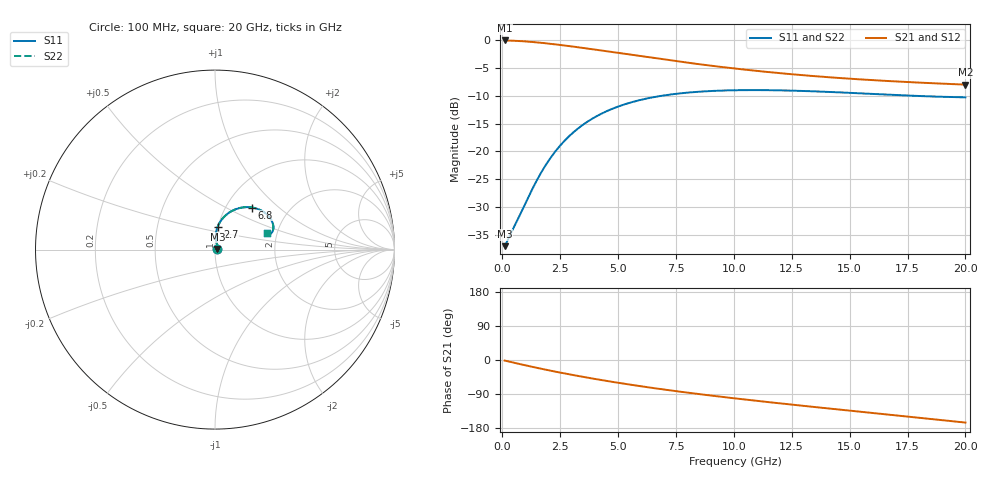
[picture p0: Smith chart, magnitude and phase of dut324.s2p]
! Touchstone file exported from HFSS 2024.1.0
!  File:  C:/UserFiles/LocalFiles/RDL_TSV_Batchsim/temp_RDL_TSV_324_1779630491.aedt
!  Generated:  10:05:19 PM May 24, 2026
!  Design:  RDL_TSV
!  Project:  temp_RDL_TSV_324_1779630491
!  Setup:  Setup1
!  Solution:  Sweep
! Variables:
!  dtsv = 6.33um
!  hbump = 3um
!  htsv = 72.81um
!  ldown = 206.31um
!  lrdl = 417.19um
!  p = 40
!  p1 = 58.47um
!  rhole = 10um
!  subl = 2287.69um
!  t = 450um
!  tdown = 4.67um
!  trdl = 2.38um
!  viad = 10um
!  wdown = 14.82um
!  wrdl = 28um
!  xbump = 18um
# GHz S MA R 50.000000
! Terminal data exported
! Port[1] = TM1_1_T1
! Port[2] = TM1_4_T1
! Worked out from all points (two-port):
!   200 points, 100 MHz to 20 GHz, reference 50 ohm
!   highest |S21| = -0.12 dB at 100 MHz (marker M1); lowest = -8.0 dB at 20 GHz (marker M2)
!   |S21| within 3 dB of the highest: start of sweep to 6.296 GHz
!   lowest |S11| = -37.0 dB at 100 MHz (marker M3), VSWR 1.03, Z = 51.4 + j0.36 ohm
!   |S11| at or under -10 dB: start of sweep to 6.93 GHz; 17.6 GHz to end of sweep
!   |S22| runs from -37.0 to -9.0 dB; largest |S21 - S12| = 7.6e-15
!   S11 on the Smith chart (normalised r, x): 100 MHz: 1.03, +0.01; 2.7 GHz: 1.00, +0.25; 6.8 GHz: 1.32, +0.69; 20 GHz: 1.77, +0.37
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0.1  0.01419 14.3  0.986 -1.5  0.986 -1.5  0.01419 14.3
! Gamma 0 0 0 0
! Port Impedance 50 0 50 0
0.8  0.02808 65.3  0.9726 -11.3  0.9726 -11.3  0.02808 65.3
1.3  0.04623 81.2  0.9556 -18.1  0.9556 -18.1  0.04623 81.2
1.6  0.06064 85.2  0.943 -22.0  0.943 -22.0  0.06064 85.2
2.1  0.08861 86.5  0.9193 -28.4  0.9193 -28.4  0.08861 86.5
2.4  0.1068 85.4  0.9039 -32.0  0.9039 -32.0  0.1068 85.5
2.7  0.1254 83.6  0.8881 -35.6  0.8881 -35.6  0.1254 83.6
3.1  0.1502 80.5  0.8664 -40.2  0.8664 -40.2  0.1502 80.5
3.5  0.1744 76.9  0.8445 -44.6  0.8445 -44.6  0.1744 76.9
4.2  0.2137 70.3  0.8061 -52.1  0.8061 -52.1  0.2137 70.3
4.9  0.2478 63.8  0.7685 -59.1  0.7685 -59.1  0.2479 63.9
5.8  0.2836 56.1  0.7222 -67.6  0.7222 -67.6  0.2837 56.1
6.8  0.3131 48.5  0.6746 -76.4  0.6746 -76.4  0.3132 48.5
7.6  0.3299 43.1  0.6398 -83.0  0.6398 -83.0  0.3299 43.1
8.4  0.3416 38.3  0.6082 -89.2  0.6082 -89.2  0.3416 38.3
10.1  0.3534 30.0  0.5512 -101.6  0.5512 -101.6  0.3535 30.1
11.7  0.3533 24.2  0.509 -112.5  0.509 -112.5  0.3534 24.3
13.4  0.3458 19.8  0.4739 -123.5  0.4739 -123.5  0.3458 19.9
15  0.3349 17.3  0.4482 -133.6  0.4482 -133.6  0.335 17.3
16.7  0.3223 16.1  0.4268 -144.3  0.4268 -144.3  0.3224 16.2
18.4  0.3115 16.5  0.4099 -155.0  0.4099 -155.0  0.3115 16.5
20  0.3054 17.9  0.3968 -165.1  0.3968 -165.1  0.3054 18.0
